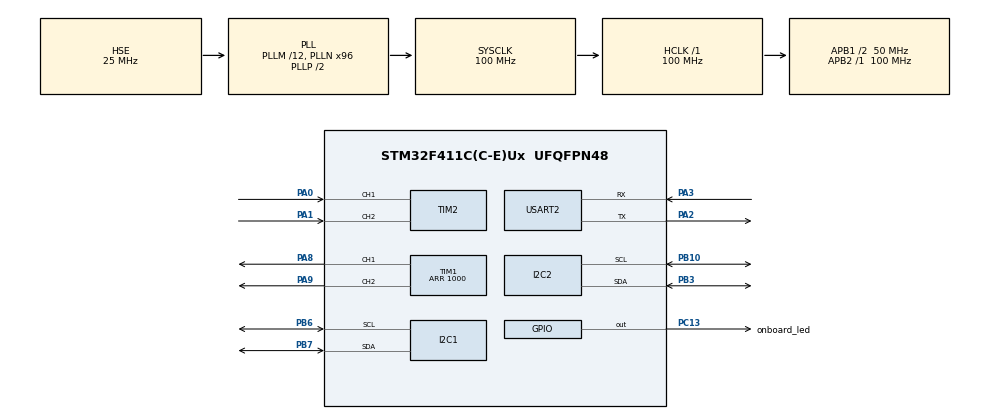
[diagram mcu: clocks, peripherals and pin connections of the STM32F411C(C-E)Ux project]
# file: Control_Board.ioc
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FREERTOS.Tasks01=heartBeatTask,8,128,StartHeartBeatTask,Default,NULL,Dynamic,NULL,NULL;powerTask,24,128,StartPowerTask,Default,NULL,Dynamic,NULL,NULL;ADCS_Task,48,256,ADCS_Control_Task,Default,NULL,Dynamic,NULL,NULL
Mcu.Family=STM32F4
Mcu.Name=STM32F411C(C-E)Ux
Mcu.Package=UFQFPN48
NVIC.PriorityGroup=NVIC_PRIORITYGROUP_4
NVIC.TIM1_TRG_COM_TIM11_IRQn=true\:15\:0\:false\:false\:true\:false\:false\:true\:true
NVIC.TimeBase=TIM1_TRG_COM_TIM11_IRQn
NVIC.TimeBaseIP=TIM11
PA0-WKUP.Signal=S_TIM2_CH1_ETR
PA1.Signal=S_TIM2_CH2
PA13.Mode=Serial_Wire
PA13.Signal=SYS_JTMS-SWDIO
PA14.Mode=Serial_Wire
PA14.Signal=SYS_JTCK-SWCLK
PA2.Mode=Asynchronous
PA2.Signal=USART2_TX
PA3.Mode=Asynchronous
PA3.Signal=USART2_RX
PA8.Signal=S_TIM1_CH1
PA9.Signal=S_TIM1_CH2
PB10.Mode=I2C
PB10.Signal=I2C2_SCL
PB3.Mode=I2C
PB3.Signal=I2C2_SDA
PB6.Mode=I2C
PB6.Signal=I2C1_SCL
PB7.Mode=I2C
PB7.Signal=I2C1_SDA
PC13-ANTI_TAMP.GPIO_Label=onboard_led
PC13-ANTI_TAMP.Signal=GPIO_Output
PH0\ -\ OSC_IN.Mode=HSE-External-Oscillator
PH0\ -\ OSC_IN.Signal=RCC_OSC_IN
PH1\ -\ OSC_OUT.Mode=HSE-External-Oscillator
PH1\ -\ OSC_OUT.Signal=RCC_OSC_OUT
ProjectManager.HeapSize=0x200
ProjectManager.StackSize=0x400
ProjectManager.TargetToolchain=CMake
RCC.48MHZClocksFreq_Value=50000000
RCC.AHBFreq_Value=100000000
RCC.APB1CLKDivider=RCC_HCLK_DIV2
RCC.APB1Freq_Value=50000000
RCC.APB1TimFreq_Value=100000000
RCC.APB2Freq_Value=100000000
RCC.APB2TimFreq_Value=100000000
RCC.CortexFreq_Value=100000000
RCC.HCLKFreq_Value=100000000
RCC.HSE_VALUE=25000000
RCC.HSI_VALUE=16000000
RCC.LSE_VALUE=32768
RCC.PLLM=12
RCC.PLLN=96
RCC.PLLSourceVirtual=RCC_PLLSOURCE_HSE
RCC.SYSCLKFreq_VALUE=100000000
RCC.SYSCLKSource=RCC_SYSCLKSOURCE_PLLCLK
RCC.VCOOutputFreq_Value=200000000
SH.S_TIM1_CH1.0=TIM1_CH1,PWM Generation1 CH1
SH.S_TIM1_CH2.0=TIM1_CH2,PWM Generation2 CH2
SH.S_TIM2_CH1_ETR.0=TIM2_CH1,Encoder_Interface
SH.S_TIM2_CH2.0=TIM2_CH2,Encoder_Interface
TIM1.AutoReloadPreload=TIM_AUTORELOAD_PRELOAD_ENABLE
TIM1.Channel-PWM\ Generation1\ CH1=TIM_CHANNEL_1
TIM1.Channel-PWM\ Generation2\ CH2=TIM_CHANNEL_2
TIM1.Period=1000
USART2.VirtualMode=VM_ASYNC
VP_FREERTOS_VS_CMSIS_V2.Mode=CMSIS_V2
VP_SYS_VS_tim11.Mode=TIM11
board=custom

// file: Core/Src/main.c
/* USER CODE BEGIN Header */
/**
  ******************************************************************************
  * @file           : main.c
  * @brief          : Main program body
  ******************************************************************************
  * @attention
  *
  * Copyright (c) 2026 STMicroelectronics.
  * All rights reserved.
  *
  * This software is licensed under terms that can be found in the LICENSE file
  * in the root directory of this software component.
  * If no LICENSE file comes with this software, it is provided AS-IS.
  *
  ******************************************************************************
  */
/* USER CODE END Header */
#include "main.h"
#include "cmsis_os.h"

/* USER CODE BEGIN Includes */
#include "cmsis_os2.h"
#include "ina226.h"
#include "mpu6050.h" // Include the MPU6050 header for sensor functions
#include "stm32f411xe.h"
#include "stm32f4xx_hal_gpio.h"
#include "stm32f4xx_hal_tim.h"
#include <stdint.h>
/* USER CODE END Includes */

/* USER CODE BEGIN PTD */
typedef struct {
  float motor_speed; // Speed for motor 1 (0-1000 for 0-100% duty cycle)
  int32_t encoder_count; // Encoder count for motor feedback

  float gyro_z; // Latest gyroscope Z-axis reading from MPU6050
  float gyro_z_raw;
  float gyro_z_bias;
  float gyro_accumulated; // Accumulated gyro angle for control purposes

  float target_angle;
  float theta_estimate;

  float kp; // Proportional gain
  float ki;
  float kd;

} ADCS_Context_t;

typedef struct {
  INA226_t power_data; // Structure to hold INA226 data
} PowerTaskContext_t;
/* USER CODE END PTD */

/* USER CODE BEGIN PD */
#define ADCS_LOOP_DT 0.01f // 10 ms loop time for ADCS control task
#define ADCS_MAX_INTEGRAL 500.0f
#define ADCS_MAX_PWM 1000 // Max PWM value corresponding to 100% duty cycle
/* USER CODE END PD */

I2C_HandleTypeDef hi2c1;
I2C_HandleTypeDef hi2c2;

TIM_HandleTypeDef htim1;
TIM_HandleTypeDef htim2;

UART_HandleTypeDef huart2;

/* Definitions for heartBeatTask */
osThreadId_t heartBeatTaskHandle;
const osThreadAttr_t heartBeatTask_attributes = {
  .name = "heartBeatTask",
  .stack_size = 128 * 4,
  .priority = (osPriority_t) osPriorityLow,
};
/* Definitions for powerTask */
osThreadId_t powerTaskHandle;
const osThreadAttr_t powerTask_attributes = {
  .name = "powerTask",
  .stack_size = 128 * 4,
  .priority = (osPriority_t) osPriorityNormal,
};
/* Definitions for ADCS_Task */
osThreadId_t ADCS_TaskHandle;
const osThreadAttr_t ADCS_Task_attributes = {
  .name = "ADCS_Task",
  .stack_size = 256 * 4,
  .priority = (osPriority_t) osPriorityRealtime,
};
/* USER CODE BEGIN PV */
ADCS_Context_t adcs_context = {0}; // Context structure for motor task
PowerTaskContext_t power_context = {0}; // Context structure for power task
/* USER CODE END PV */

void SystemClock_Config(void);
static void MX_GPIO_Init(void);
static void MX_I2C1_Init(void);
static void MX_I2C2_Init(void);
static void MX_TIM1_Init(void);
static void MX_TIM2_Init(void);
static void MX_USART2_UART_Init(void);
void StartHeartBeatTask(void *argument);
void StartPowerTask(void *argument);
void ADCS_Control_Task(void *argument);

int main(void)
{

  /* MCU Configuration--------------------------------------------------------*/

  /* Reset of all peripherals, Initializes the Flash interface and the Systick. */
  HAL_Init();

  /* Configure the system clock */
  SystemClock_Config();

  /* Initialize all configured peripherals */
  MX_GPIO_Init();
  MX_I2C1_Init();
  MX_I2C2_Init();
  MX_TIM1_Init();
  MX_TIM2_Init();
  MX_USART2_UART_Init();

  /* Init scheduler */
  osKernelInitialize();

  /* Create the thread(s) */
  /* creation of heartBeatTask */
  heartBeatTaskHandle = osThreadNew(StartHeartBeatTask, NULL, &heartBeatTask_attributes);

  /* creation of powerTask */
  powerTaskHandle = osThreadNew(StartPowerTask, NULL, &powerTask_attributes);

  /* creation of ADCS_Task */
  ADCS_TaskHandle = osThreadNew(ADCS_Control_Task, NULL, &ADCS_Task_attributes);

  /* Start scheduler */
  osKernelStart();

  /* We should never get here as control is now taken by the scheduler */

  /* Infinite loop */
  while (1)
  {

  }
}

void SystemClock_Config(void)
{
  RCC_OscInitTypeDef RCC_OscInitStruct = {0};
  RCC_ClkInitTypeDef RCC_ClkInitStruct = {0};

  /** Configure the main internal regulator output voltage
  */
  __HAL_RCC_PWR_CLK_ENABLE();
  __HAL_PWR_VOLTAGESCALING_CONFIG(PWR_REGULATOR_VOLTAGE_SCALE1);

  /** Initializes the RCC Oscillators according to the specified parameters
  * in the RCC_OscInitTypeDef structure.
  */
  RCC_OscInitStruct.OscillatorType = RCC_OSCILLATORTYPE_HSE;
  RCC_OscInitStruct.HSEState = RCC_HSE_ON;
  RCC_OscInitStruct.PLL.PLLState = RCC_PLL_ON;
  RCC_OscInitStruct.PLL.PLLSource = RCC_PLLSOURCE_HSE;
  RCC_OscInitStruct.PLL.PLLM = 12;
  RCC_OscInitStruct.PLL.PLLN = 96;
  RCC_OscInitStruct.PLL.PLLP = RCC_PLLP_DIV2;
  RCC_OscInitStruct.PLL.PLLQ = 4;
  if (HAL_RCC_OscConfig(&RCC_OscInitStruct) != HAL_OK)
  {
    Error_Handler();
  }

  /** Initializes the CPU, AHB and APB buses clocks
  */
  RCC_ClkInitStruct.ClockType = RCC_CLOCKTYPE_HCLK|RCC_CLOCKTYPE_SYSCLK
                              |RCC_CLOCKTYPE_PCLK1|RCC_CLOCKTYPE_PCLK2;
  RCC_ClkInitStruct.SYSCLKSource = RCC_SYSCLKSOURCE_PLLCLK;
  RCC_ClkInitStruct.AHBCLKDivider = RCC_SYSCLK_DIV1;
  RCC_ClkInitStruct.APB1CLKDivider = RCC_HCLK_DIV2;
  RCC_ClkInitStruct.APB2CLKDivider = RCC_HCLK_DIV1;

  if (HAL_RCC_ClockConfig(&RCC_ClkInitStruct, FLASH_LATENCY_3) != HAL_OK)
  {
    Error_Handler();
  }
}

static void MX_I2C1_Init(void)
{

  hi2c1.Instance = I2C1;
  hi2c1.Init.ClockSpeed = 100000;
  hi2c1.Init.DutyCycle = I2C_DUTYCYCLE_2;
  hi2c1.Init.OwnAddress1 = 0;
  hi2c1.Init.AddressingMode = I2C_ADDRESSINGMODE_7BIT;
  hi2c1.Init.DualAddressMode = I2C_DUALADDRESS_DISABLE;
  hi2c1.Init.OwnAddress2 = 0;
  hi2c1.Init.GeneralCallMode = I2C_GENERALCALL_DISABLE;
  hi2c1.Init.NoStretchMode = I2C_NOSTRETCH_DISABLE;
  if (HAL_I2C_Init(&hi2c1) != HAL_OK)
  {
    Error_Handler();
  }

}

static void MX_I2C2_Init(void)
{

  hi2c2.Instance = I2C2;
  hi2c2.Init.ClockSpeed = 100000;
  hi2c2.Init.DutyCycle = I2C_DUTYCYCLE_2;
  hi2c2.Init.OwnAddress1 = 0;
  hi2c2.Init.AddressingMode = I2C_ADDRESSINGMODE_7BIT;
  hi2c2.Init.DualAddressMode = I2C_DUALADDRESS_DISABLE;
  hi2c2.Init.OwnAddress2 = 0;
  hi2c2.Init.GeneralCallMode = I2C_GENERALCALL_DISABLE;
  hi2c2.Init.NoStretchMode = I2C_NOSTRETCH_DISABLE;
  if (HAL_I2C_Init(&hi2c2) != HAL_OK)
  {
    Error_Handler();
  }

}

static void MX_TIM1_Init(void)
{

  TIM_MasterConfigTypeDef sMasterConfig = {0};
  TIM_OC_InitTypeDef sConfigOC = {0};
  TIM_BreakDeadTimeConfigTypeDef sBreakDeadTimeConfig = {0};

  htim1.Instance = TIM1;
  htim1.Init.Prescaler = 0;
  htim1.Init.CounterMode = TIM_COUNTERMODE_UP;
  htim1.Init.Period = 1000;
  htim1.Init.ClockDivision = TIM_CLOCKDIVISION_DIV1;
  htim1.Init.RepetitionCounter = 0;
  htim1.Init.AutoReloadPreload = TIM_AUTORELOAD_PRELOAD_ENABLE;
  if (HAL_TIM_PWM_Init(&htim1) != HAL_OK)
  {
    Error_Handler();
  }
  sMasterConfig.MasterOutputTrigger = TIM_TRGO_RESET;
  sMasterConfig.MasterSlaveMode = TIM_MASTERSLAVEMODE_DISABLE;
  if (HAL_TIMEx_MasterConfigSynchronization(&htim1, &sMasterConfig) != HAL_OK)
  {
    Error_Handler();
  }
  sConfigOC.OCMode = TIM_OCMODE_PWM1;
  sConfigOC.Pulse = 0;
  sConfigOC.OCPolarity = TIM_OCPOLARITY_HIGH;
  sConfigOC.OCNPolarity = TIM_OCNPOLARITY_HIGH;
  sConfigOC.OCFastMode = TIM_OCFAST_DISABLE;
  sConfigOC.OCIdleState = TIM_OCIDLESTATE_RESET;
  sConfigOC.OCNIdleState = TIM_OCNIDLESTATE_RESET;
  if (HAL_TIM_PWM_ConfigChannel(&htim1, &sConfigOC, TIM_CHANNEL_1) != HAL_OK)
  {
    Error_Handler();
  }
  if (HAL_TIM_PWM_ConfigChannel(&htim1, &sConfigOC, TIM_CHANNEL_2) != HAL_OK)
  {
    Error_Handler();
  }
  sBreakDeadTimeConfig.OffStateRunMode = TIM_OSSR_DISABLE;
  sBreakDeadTimeConfig.OffStateIDLEMode = TIM_OSSI_DISABLE;
  sBreakDeadTimeConfig.LockLevel = TIM_LOCKLEVEL_OFF;
  sBreakDeadTimeConfig.DeadTime = 0;
  sBreakDeadTimeConfig.BreakState = TIM_BREAK_DISABLE;
  sBreakDeadTimeConfig.BreakPolarity = TIM_BREAKPOLARITY_HIGH;
  sBreakDeadTimeConfig.AutomaticOutput = TIM_AUTOMATICOUTPUT_DISABLE;
  if (HAL_TIMEx_ConfigBreakDeadTime(&htim1, &sBreakDeadTimeConfig) != HAL_OK)
  {
    Error_Handler();
  }
  HAL_TIM_MspPostInit(&htim1);

}

static void MX_TIM2_Init(void)
{

  TIM_Encoder_InitTypeDef sConfig = {0};
  TIM_MasterConfigTypeDef sMasterConfig = {0};

  htim2.Instance = TIM2;
  htim2.Init.Prescaler = 0;
  htim2.Init.CounterMode = TIM_COUNTERMODE_UP;
  htim2.Init.Period = 4294967295;
  htim2.Init.ClockDivision = TIM_CLOCKDIVISION_DIV1;
  htim2.Init.AutoReloadPreload = TIM_AUTORELOAD_PRELOAD_DISABLE;
  sConfig.EncoderMode = TIM_ENCODERMODE_TI1;
  sConfig.IC1Polarity = TIM_ICPOLARITY_RISING;
  sConfig.IC1Selection = TIM_ICSELECTION_DIRECTTI;
  sConfig.IC1Prescaler = TIM_ICPSC_DIV1;
  sConfig.IC1Filter = 0;
  sConfig.IC2Polarity = TIM_ICPOLARITY_RISING;
  sConfig.IC2Selection = TIM_ICSELECTION_DIRECTTI;
  sConfig.IC2Prescaler = TIM_ICPSC_DIV1;
  sConfig.IC2Filter = 0;
  if (HAL_TIM_Encoder_Init(&htim2, &sConfig) != HAL_OK)
  {
    Error_Handler();
  }
  sMasterConfig.MasterOutputTrigger = TIM_TRGO_RESET;
  sMasterConfig.MasterSlaveMode = TIM_MASTERSLAVEMODE_DISABLE;
  if (HAL_TIMEx_MasterConfigSynchronization(&htim2, &sMasterConfig) != HAL_OK)
  {
    Error_Handler();
  }

}

static void MX_USART2_UART_Init(void)
{

  huart2.Instance = USART2;
  huart2.Init.BaudRate = 115200;
  huart2.Init.WordLength = UART_WORDLENGTH_8B;
  huart2.Init.StopBits = UART_STOPBITS_1;
  huart2.Init.Parity = UART_PARITY_NONE;
  huart2.Init.Mode = UART_MODE_TX_RX;
  huart2.Init.HwFlowCtl = UART_HWCONTROL_NONE;
  huart2.Init.OverSampling = UART_OVERSAMPLING_16;
  if (HAL_UART_Init(&huart2) != HAL_OK)
  {
    Error_Handler();
  }

}

static void MX_GPIO_Init(void)
{
  GPIO_InitTypeDef GPIO_InitStruct = {0};

  /* GPIO Ports Clock Enable */
  __HAL_RCC_GPIOC_CLK_ENABLE();
  __HAL_RCC_GPIOH_CLK_ENABLE();
  __HAL_RCC_GPIOA_CLK_ENABLE();
  __HAL_RCC_GPIOB_CLK_ENABLE();

  /*Configure GPIO pin Output Level */
  HAL_GPIO_WritePin(onboard_led_GPIO_Port, onboard_led_Pin, GPIO_PIN_RESET);

  /*Configure GPIO pin : onboard_led_Pin */
  GPIO_InitStruct.Pin = onboard_led_Pin;
  GPIO_InitStruct.Mode = GPIO_MODE_OUTPUT_PP;
  GPIO_InitStruct.Pull = GPIO_NOPULL;
  GPIO_InitStruct.Speed = GPIO_SPEED_FREQ_LOW;
  HAL_GPIO_Init(onboard_led_GPIO_Port, &GPIO_InitStruct);

}

/* USER CODE BEGIN 4 */
void Set_Motor_Speed(int32_t motor_speed) {
  if (motor_speed >= 0)
  {
    __HAL_TIM_SET_COMPARE(&htim1, TIM_CHANNEL_1, motor_speed);
    __HAL_TIM_SET_COMPARE(&htim1, TIM_CHANNEL_2, 0);
  }
  else {
    __HAL_TIM_SET_COMPARE(&htim1, TIM_CHANNEL_1, 0);
    __HAL_TIM_SET_COMPARE(&htim1, TIM_CHANNEL_2, -motor_speed);
  }
}
/* USER CODE END 4 */

void StartHeartBeatTask(void *argument)
{
  /* USER CODE BEGIN 5 */
  /* Infinite loop */
  for(;;)
  {
    HAL_GPIO_TogglePin(onboard_led_GPIO_Port, onboard_led_Pin);
    osDelay(500);
  }
  /* USER CODE END 5 */
}

void StartPowerTask(void *argument)
{
  /* USER CODE BEGIN StartPowerTask */
  osDelay(100);

  if (INA226_Init(&hi2c2) != 0)
  {
    while (1)
    {
      HAL_GPIO_TogglePin(onboard_led_GPIO_Port, onboard_led_Pin);
      osDelay(100);
    }
  }
  /* Infinite loop */
  for(;;)
  {
    INA226_Read_All(&hi2c2, &power_context.power_data);
    osDelay(250);
  }
  /* USER CODE END StartPowerTask */
}

void ADCS_Control_Task(void *argument)
{
  /* USER CODE BEGIN ADCS_Control_Task */
  HAL_TIM_Encoder_Start(&htim2, TIM_CHANNEL_ALL);
  HAL_TIM_PWM_Start(&htim1, TIM_CHANNEL_1);
  HAL_TIM_PWM_Start(&htim1, TIM_CHANNEL_2);

  Set_Motor_Speed(0); // Start with motors stopped

  osDelay(500);

  adcs_context.gyro_z_bias = 0.0f;
  adcs_context.gyro_accumulated = 0.0f;

  if (MPU6050_Init(&hi2c1) != 0)
  {
    while (1)
    {
      HAL_GPIO_TogglePin(onboard_led_GPIO_Port, onboard_led_Pin);
      osDelay(50);
    }
  }

  for (int i = 0; i < 200; i++) {
    adcs_context.gyro_accumulated += Read_MPU6050_Gyro_Z(&hi2c1);
    osDelay(5);
  }
  adcs_context.gyro_z_bias = adcs_context.gyro_accumulated / 200.0f;

  uint32_t tick_update = osKernelGetTickCount();
  float error_integral = 0.0f;

  adcs_context.target_angle = 0.0f; // Target angle in degrees (tune as needed)
  adcs_context.kp = 4.0f; // Proportional gain (tune as needed)
  adcs_context.ki = 0.4f; // Integral gain (tune as needed)
  // adcs_context.kd = 0.01f; // Derivative gain (t

  /* Infinite loop */
  for(;;)
  {
    adcs_context.gyro_z_raw = Read_MPU6050_Gyro_Z(&hi2c1);
    adcs_context.gyro_z = adcs_context.gyro_z_raw - adcs_context.gyro_z_bias;

    if (adcs_context.gyro_z > -0.5f && adcs_context.gyro_z < 0.5f) {
      adcs_context.gyro_z = 0.0f;
    }

    adcs_context.theta_estimate += adcs_context.gyro_z * ADCS_LOOP_DT;

    float error = adcs_context.target_angle - adcs_context.theta_estimate;

    float p_term = adcs_context.kp * error;
    error_integral += error * ADCS_LOOP_DT;

    if (error_integral > ADCS_MAX_INTEGRAL)  error_integral = ADCS_MAX_INTEGRAL;
    if (error_integral < -ADCS_MAX_INTEGRAL) error_integral = -ADCS_MAX_INTEGRAL;

    float i_term = adcs_context.ki * error_integral;
    float d_term = adcs_context.kd * (-adcs_context.gyro_z);

    float pwm_output = p_term + i_term + d_term;

    if (pwm_output > ADCS_MAX_PWM)  pwm_output = ADCS_MAX_PWM;
    if (pwm_output < -ADCS_MAX_PWM) pwm_output = -ADCS_MAX_PWM;

    adcs_context.motor_speed = (float)pwm_output;
    Set_Motor_Speed(pwm_output);

    tick_update += 10;
    osDelayUntil(tick_update);
  }
  /* USER CODE END ADCS_Control_Task */
}

void HAL_TIM_PeriodElapsedCallback(TIM_HandleTypeDef *htim)
{
  if (htim->Instance == TIM11)
  {
    HAL_IncTick();
  }
}

void Error_Handler(void)
{
  __disable_irq();
  while (1)
  {
  }
}
